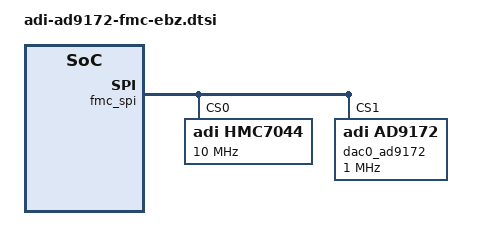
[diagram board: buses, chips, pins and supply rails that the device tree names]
/ {
	clocks {

	};
};

&fmc_spi {
	hmc7044: hmc7044@0 {
		#address-cells = <1>;
		#size-cells = <0>;
		#clock-cells = <1>;
		compatible = "adi,hmc7044";
		reg = <0>;

		spi-max-frequency = <10000000>;

		clock-output-names = "clk-0", "clk-1", "clk-2", "clk-3", "clk-4",
			"clk-5", "clk-6", "clk-7", "clk-8", "clk-9", "clk-10", "clk-11",
			"clk-12", "clk-13";
	};

	dac0_ad9172: ad9172@1 {
		#address-cells = <1>;
		#size-cells = <0>;
		compatible = "adi,ad9172";
		reg = <1>;
		spi-max-frequency = <1000000>;
		clocks = <&axi_ad9172_jesd>, <&hmc7044 2>, <&hmc7044 3>;
		clock-names = "jesd_dac_clk", "dac_clk", "dac_sysref";
	};
};

